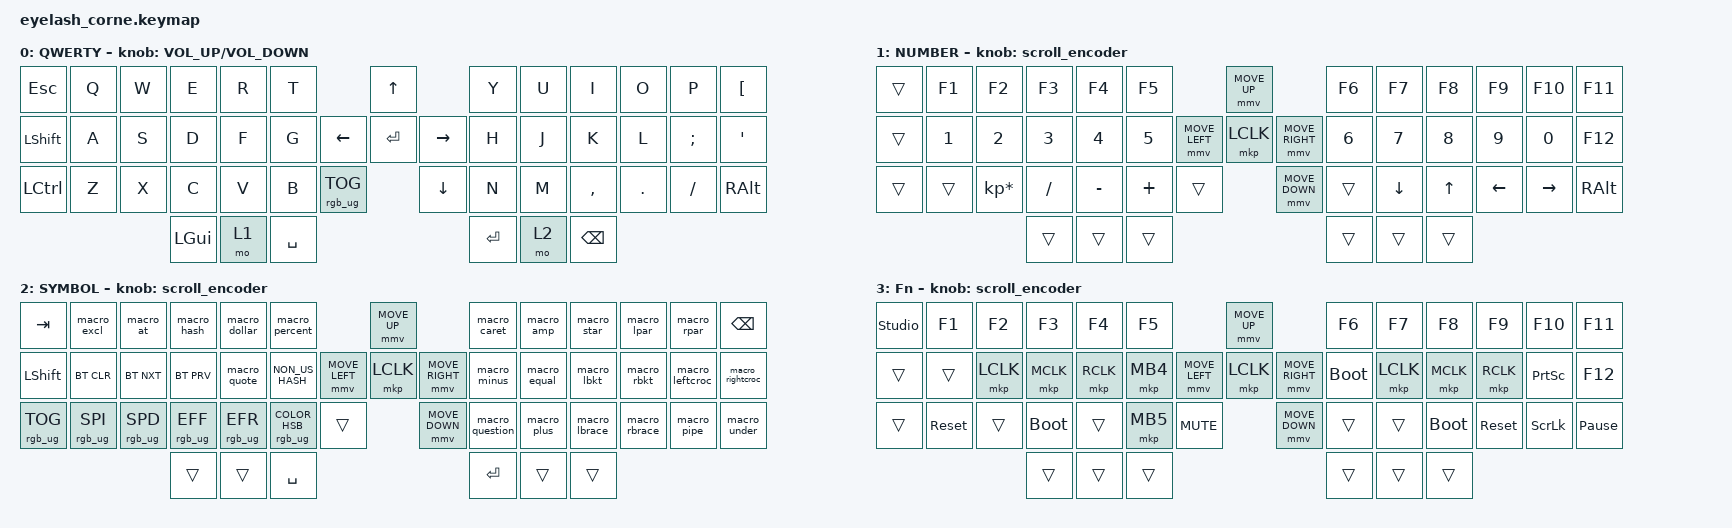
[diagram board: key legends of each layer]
#define ZMK_POINTING_DEFAULT_MOVE_VAL 1200  // 600
#define ZMK_POINTING_DEFAULT_SCRL_VAL 25   // 10

#include <input/processors.dtsi>
#include <zephyr/dt-bindings/input/input-event-codes.h>
#include <behaviors.dtsi>
#include <dt-bindings/zmk/bt.h>
#include <dt-bindings/zmk/keys.h>
#include <dt-bindings/zmk/pointing.h>
#include <dt-bindings/zmk/rgb.h>

&mmv_input_listener { input-processors = <&zip_xy_scaler 2 1>; };

&msc_input_listener { input-processors = <&zip_scroll_scaler 2 1>; };

&msc {
    acceleration-exponent = <1>;      // 0
    time-to-max-speed-ms = <100>;       // 300
    delay-ms = <0>;                   // 0
};

&mmv {
    time-to-max-speed-ms = <500>;
    acceleration-exponent = <1>;
    trigger-period-ms = <16>;
};

/ {
    behaviors {
        td0: td0 {
            compatible = "zmk,behavior-tap-dance";
            display-name = "Shift/Caps Lock Tap Dance";
            #binding-cells = <0>;
            bindings = <&kp LEFT_SHIFT>, <&kp CAPS>;
        };
    };

    rgb_encoder: rgb_encoder {
        compatible = "zmk,behavior-sensor-rotate";
        #sensor-binding-cells = <0>;
        bindings = <&rgb_ug RGB_BRI>, <&rgb_ug RGB_BRD>;
    };

    scroll_encoder: scroll_encoder {
        compatible = "zmk,behavior-sensor-rotate";
        #sensor-binding-cells = <0>;
        bindings = <&msc SCRL_DOWN>, <&msc SCRL_UP>;

        tap-ms = <100>;
    };

    macros {
        macro_excl: macro_excl {
            compatible = "zmk,behavior-macro";
            label = "macro_excl";
            #binding-cells = <0>;
            wait-ms = <40>;
            tap-ms = <40>;
            bindings = <&macro_press &kp LEFT_SHIFT>, <&macro_tap &kp N1>, <&macro_release &kp LEFT_SHIFT>;
        };

        macro_at: macro_at {
            compatible = "zmk,behavior-macro";
            label = "macro_at";
            #binding-cells = <0>;
            wait-ms = <40>;
            tap-ms = <40>;
            bindings = <&macro_press &kp RIGHT_ALT>, <&macro_tap &kp N2>, <&macro_release &kp RIGHT_ALT>;
        };
        macro_quote: macro_quote {
            compatible = "zmk,behavior-macro";
            label = "macro_quote";
            #binding-cells = <0>;
            wait-ms = <40>;
            tap-ms = <40>;
            bindings = <&macro_press &kp LEFT_SHIFT>, <&macro_tap &kp N2>, <&macro_release &kp LEFT_SHIFT>;
        };

        macro_hash: macro_hash {
            compatible = "zmk,behavior-macro";
            label = "macro_hash";
            #binding-cells = <0>;
            wait-ms = <40>;
            tap-ms = <40>;
            bindings = <&macro_press &kp LEFT_SHIFT>, <&macro_tap &kp N3>, <&macro_release &kp LEFT_SHIFT>;
        };

        macro_dollar: macro_dollar {
            compatible = "zmk,behavior-macro";
            label = "macro_dollar";
            #binding-cells = <0>;
            wait-ms = <40>;
            tap-ms = <40>;
            bindings = <&macro_press &kp RIGHT_ALT>, <&macro_tap &kp N4>, <&macro_release &kp RIGHT_ALT>;
        };

        macro_percent: macro_percent {
            compatible = "zmk,behavior-macro";
            label = "macro_percent";
            #binding-cells = <0>;
            wait-ms = <40>;
            tap-ms = <40>;
            bindings = <&macro_press &kp LEFT_SHIFT>, <&macro_tap &kp N5>, <&macro_release &kp LEFT_SHIFT>;
        };

        macro_caret: macro_caret {
            compatible = "zmk,behavior-macro";
            label = "macro_caret";
            #binding-cells = <0>;
            wait-ms = <40>;
            tap-ms = <40>;
            bindings = <&macro_press &kp LEFT_SHIFT>, <&macro_tap &kp RBKT>, <&macro_tap &kp RBKT>, <&macro_release &kp LEFT_SHIFT>;
        };

        macro_amp: macro_amp {
            compatible = "zmk,behavior-macro";
            label = "macro_amp";
            #binding-cells = <0>;
            wait-ms = <40>;
            tap-ms = <40>;
            bindings = <&macro_press &kp LEFT_SHIFT>, <&macro_tap &kp N6>, <&macro_release &kp LEFT_SHIFT>;
        };

        macro_star: macro_star {
            compatible = "zmk,behavior-macro";
            label = "macro_star";
            #binding-cells = <0>;
            wait-ms = <40>;
            tap-ms = <40>;
            bindings = <&macro_press &kp LEFT_SHIFT>, <&macro_tap &kp NON_US_HASH>, <&macro_release &kp LEFT_SHIFT>;
        };

        macro_lpar: macro_lpar {
            compatible = "zmk,behavior-macro";
            label = "macro_lpar";
            #binding-cells = <0>;
            wait-ms = <40>;
            tap-ms = <40>;
            bindings = <&macro_press &kp LEFT_SHIFT>, <&macro_tap &kp N8>, <&macro_release &kp LEFT_SHIFT>;
        };

        macro_rpar: macro_rpar {
            compatible = "zmk,behavior-macro";
            label = "macro_rpar";
            #binding-cells = <0>;
            wait-ms = <40>;
            tap-ms = <40>;
            bindings = <&macro_press &kp LEFT_SHIFT>, <&macro_tap &kp N9>, <&macro_release &kp LEFT_SHIFT>;
        };

        macro_minus: macro_minus {
            compatible = "zmk,behavior-macro";
            label = "macro_minus";
            #binding-cells = <0>;
            bindings = <&kp SLASH>;
        };

        macro_equal: macro_equal {
            compatible = "zmk,behavior-macro";
            label = "macro_equal";
            #binding-cells = <0>;
            wait-ms = <40>;
            tap-ms = <40>;
            bindings = <&macro_press &kp LEFT_SHIFT>, <&macro_tap &kp N0>, <&macro_release &kp LEFT_SHIFT>;
        };

        macro_lbkt: macro_lbkt {
            compatible = "zmk,behavior-macro";
            label = "macro_lbkt";
            #binding-cells = <0>;
            wait-ms = <40>;
            tap-ms = <40>;
            bindings = <&macro_press &kp RIGHT_ALT>, <&macro_tap &kp N8>, <&macro_release &kp RIGHT_ALT>;
        };

        macro_rbkt: macro_rbkt {
            compatible = "zmk,behavior-macro";
            label = "macro_rbkt";
            #binding-cells = <0>;
            wait-ms = <40>;
            tap-ms = <40>;
            bindings = <&macro_press &kp RIGHT_ALT>, <&macro_tap &kp N9>, <&macro_release &kp RIGHT_ALT>;
        };

        macro_leftcroc: macro_leftcroc {
            compatible = "zmk,behavior-macro";
            label = "macro_bslash";
            #binding-cells = <0>;
            wait-ms = <40>;
            tap-ms = <40>;
            bindings = <&kp NON_US_BACKSLASH>;
        };

            macro_rightcroc: macro_rightcroc {
        compatible = "zmk,behavior-macro";
        label = "macro_rightcroc";
        #binding-cells = <0>;
        wait-ms = <40>;
        tap-ms = <40>;
        bindings = <&macro_press &kp LEFT_SHIFT>, <&macro_press &kp NON_US_BACKSLASH>, <&macro_release &kp NON_US_BACKSLASH>, <&macro_release &kp LEFT_SHIFT>;
    };

        macro_squote: macro_squote {
            compatible = "zmk,behavior-macro";
            label = "macro_squote";
            #binding-cells = <0>;
            bindings = <&kp SQT>;
        };

        macro_under: macro_under {
            compatible = "zmk,behavior-macro";
            label = "macro_under";
            #binding-cells = <0>;
            bindings = <&macro_press &kp LEFT_SHIFT>, <&macro_tap &kp SLASH>, <&macro_release &kp LEFT_SHIFT>;
        };

        macro_plus: macro_plus {
            compatible = "zmk,behavior-macro";
            label = "macro_plus";
            #binding-cells = <0>;
            bindings = <&macro_tap &kp MINUS>;
        };

        macro_lbrace: macro_lbrace {
            compatible = "zmk,behavior-macro";
            label = "macro_lbrace";
            #binding-cells = <0>;
            wait-ms = <40>;
            tap-ms = <40>;
            bindings = <&macro_press &kp RIGHT_ALT>, <&macro_tap &kp N7>, <&macro_release &kp RIGHT_ALT>;
        };

        macro_rbrace: macro_rbrace {
            compatible = "zmk,behavior-macro";
            label = "macro_rbrace";
            #binding-cells = <0>;
            wait-ms = <40>;
            tap-ms = <40>;
            bindings = <&macro_press &kp RIGHT_ALT>, <&macro_tap &kp N0>, <&macro_release &kp RIGHT_ALT>;
        };

        macro_pipe: macro_pipe {
            compatible = "zmk,behavior-macro";
            label = "macro_pipe";
            #binding-cells = <0>;
            wait-ms = <40>;
            tap-ms = <40>;
            bindings = <&macro_tap &kp TILDE>;
        };

        macro_tilde: macro_tilde {
            compatible = "zmk,behavior-macro";
            label = "macro_tilde";
            #binding-cells = <0>;
            wait-ms = <40>;
            tap-ms = <40>;
            bindings = <&macro_press &kp LEFT_SHIFT>, <&macro_tap &kp MINUS>, <&macro_release &kp LEFT_SHIFT>;
        };
        
        macro_question: macro_question {
            compatible = "zmk,behavior-macro";
            label = "macro_question";
            #binding-cells = <0>;
            wait-ms = <40>;
            tap-ms = <40>;
            bindings = <&macro_press &kp LEFT_SHIFT>, <&macro_tap &kp MINUS>, <&macro_release &kp LEFT_SHIFT>;
        };
    };

    keymap {
        compatible = "zmk,keymap";

        default_layer {
            display-name = "QWERTY";
            bindings = <
&kp ESCAPE      &kp Q  &kp W  &kp E     &kp R  &kp T                                   &kp UP                &kp Y      &kp U  &kp I          &kp O    &kp P     &kp LEFT_BRACKET
&kp LEFT_SHIFT  &kp A  &kp S  &kp D     &kp F  &kp G                         &kp LEFT  &kp ENTER  &kp RIGHT  &kp H      &kp J  &kp K          &kp L    &kp SEMI  &kp SQT
&kp LCTRL       &kp Z  &kp X  &kp C     &kp V  &kp B      &rgb_ug RGB_TOG              &kp DOWN              &kp N      &kp M  &kp COMMA      &kp DOT  &kp FSLH  &kp RIGHT_ALT
                              &kp LGUI  &mo 1  &kp SPACE                                                     &kp ENTER  &mo 2  &kp BACKSPACE
            >;

            sensor-bindings = <&inc_dec_kp C_VOLUME_UP C_VOLUME_DOWN>;
        };

        lower_layer {
            display-name = "NUMBER";
            bindings = <
&trans  &kp F1        &kp F2           &kp F3        &kp F4        &kp F5                                  &mmv MOVE_UP                     &kp F6        &kp F7          &kp F8        &kp F9          &kp F10          &kp F11
&trans  &kp NUMBER_1  &kp NUMBER_2     &kp NUMBER_3  &kp NUMBER_4  &kp NUMBER_5            &mmv MOVE_LEFT  &mkp LCLK       &mmv MOVE_RIGHT  &kp NUMBER_6  &kp NUMBER_7    &kp NUMBER_8  &kp NUMBER_9    &kp NUMBER_0     &kp F12
&trans  &trans        &kp KP_MULTIPLY  &kp SLASH     &kp MINUS     &kp PLUS      &trans                    &mmv MOVE_DOWN                   &trans        &kp DOWN_ARROW  &kp UP_ARROW  &kp LEFT_ARROW  &kp RIGHT_ARROW  &kp RIGHT_ALT
                                       &trans        &trans        &trans                                                                   &trans        &trans          &trans
            >;

            sensor-bindings = <&scroll_encoder>;
        };

        raise_layer {
            display-name = "SYMBOL";
            bindings = <
                &kp TAB       &macro_excl      &macro_at       &macro_hash     &macro_dollar   &macro_percent                                             &mmv MOVE_UP                    &macro_caret &macro_amp   &macro_star   &macro_lpar &macro_rpar &kp BSPC
                &kp LEFT_SHIFT       &bt BT_CLR       &bt BT_NXT       &bt BT_PRV       &macro_quote       &kp NON_US_HASH                               &mmv MOVE_LEFT  &mkp LCLK   &mmv MOVE_RIGHT      &macro_minus &macro_equal &macro_lbkt  &macro_rbkt &macro_leftcroc &macro_rightcroc
                &rgb_ug RGB_TOG &rgb_ug RGB_SPI  &rgb_ug RGB_SPD &rgb_ug RGB_EFF &rgb_ug RGB_EFR &rgb_ug RGB_COLOR_HSB(185,0,0)  &trans         &mmv MOVE_DOWN                               &macro_question &macro_plus &macro_lbrace &macro_rbrace &macro_pipe &macro_under
                                                &trans           &trans           &kp SPACE                                                                     &kp RET    &trans     &trans
            >;

            sensor-bindings = <&scroll_encoder>;
        };

        layer_3 {
            display-name = "Fn";
            bindings = <
&studio_unlock  &kp F1      &kp F2     &kp F3       &kp F4     &kp F5                                  &mmv MOVE_UP                     &kp F6       &kp F7     &kp F8       &kp F9      &kp F10          &kp F11
&trans          &trans      &mkp LCLK  &mkp MCLK    &mkp RCLK  &mkp MB4                &mmv MOVE_LEFT  &mkp LCLK       &mmv MOVE_RIGHT  &bootloader  &mkp LCLK  &mkp MCLK    &mkp RCLK   &kp PRINTSCREEN  &kp F12
&trans          &sys_reset  &trans     &bootloader  &trans     &mkp MB5  &kp C_MUTE                    &mmv MOVE_DOWN                   &trans       &trans     &bootloader  &sys_reset  &kp SCROLLLOCK   &kp PAUSE_BREAK
                                       &trans       &trans     &trans                                                                   &trans       &trans     &trans
            >;

            sensor-bindings = <&scroll_encoder>;
        };
    };
};
